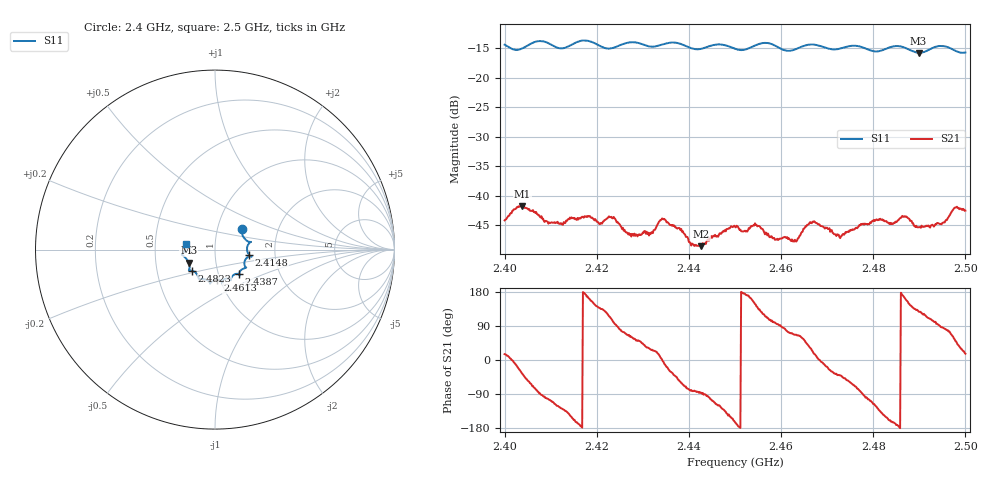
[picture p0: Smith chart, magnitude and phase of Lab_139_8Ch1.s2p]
# Hz S RI R 50
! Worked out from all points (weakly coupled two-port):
!   601 points, 2.4 GHz to 2.5 GHz, reference 50 ohm
!   highest |S21| = -41.73 dB at 2.4038 GHz (marker M1); lowest = -48.5 dB at 2.4427 GHz (marker M2)
!   lowest |S11| = -15.7 dB at 2.4898 GHz (marker M3), VSWR 1.39, Z = 36.9 - j5.49 ohm
!   |S11| at or under -10 dB: start of sweep to end of sweep
!   S12 and S22 are empty: the file has one direction only
!   S11 on the Smith chart (normalised r, x): 2.4 GHz: 1.31, +0.32; 2.4148 GHz: 1.47, -0.10; 2.4387 GHz: 1.25, -0.36; 2.4613 GHz: 0.97, -0.34; 2.4823 GHz: 0.75, -0.18; 2.5 GHz: 0.72, +0.04
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2.4e9  0.1516 0.117  0.00597 0.00165  0 0  0 0
2.403833e9  0.1689 0.057  0.00659 -0.00486  0 0  0 0
2.409833e9  0.1907 0.0359  -0.00158 -0.00566  0 0  0 0
2.414833e9  0.1912 -0.0315  -0.00589 -0.00275  0 0  0 0
2.416667e9  0.2032 -0.0397  -0.00656 -0.000522  0 0  0 0
2.4235e9  0.1636 -0.074  -0.0013 0.00631  0 0  0 0
2.427833e9  0.1741 -0.1002  0.00251 0.00399  0 0  0 0
2.433333e9  0.1359 -0.1295  0.0056 0.00165  0 0  0 0
2.438667e9  0.1328 -0.1376  0.00214 -0.00454  0 0  0 0
2.442667e9  0.0958 -0.1483  0.000236 -0.00373  0 0  0 0
2.45e9  0.0726 -0.1615  -0.00526 -0.00149  0 0  0 0
2.456667e9  0.044 -0.1935  -0.00201 0.00446  0 0  0 0
2.461333e9  0.0135 -0.1694  0.00111 0.00431  0 0  0 0
2.463333e9  -0.0141 -0.1759  0.00163 0.00377  0 0  0 0
2.466667e9  -0.0271 -0.1904  0.00528 0.00255  0 0  0 0
2.472833e9  -0.0692 -0.1635  0.00332 -0.00285  0 0  0 0
2.482333e9  -0.1279 -0.1181  -0.00511 -0.0035  0 0  0 0
2.483333e9  -0.1375 -0.1166  -0.00548 -0.0022  0 0  0 0
2.486833e9  -0.1435 -0.1098  -0.00643 0.00193  0 0  0 0
2.489833e9  -0.1462 -0.0725  -0.00334 0.00425  0 0  0 0
2.494667e9  -0.1847 -0.0279  0.000301 0.00578  0 0  0 0
2.5e9  -0.1618 0.0299  0.00718 0.00214  0 0  0 0
